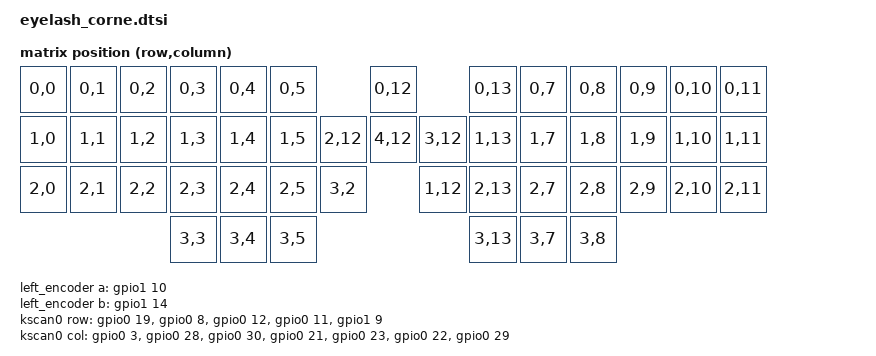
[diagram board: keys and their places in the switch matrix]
/*
 *
 * Copyright (c) 2024 The ZMK Contributors
 * SPDX-License-Identifier: MIT
 *
 */

/*
 * =============================================================================
 * Include
 * =============================================================================
 *
 * LEDの色指定、ZMKのMatrix Transform、
 * Eyelash CorneのPhysical Layout定義を読み込む。
 */

#include <dt-bindings/led/led.h>
#include <dt-bindings/zmk/matrix_transform.h>
#include "eyelash_corne-layouts.dtsi"


/ {
    /*
     * =========================================================================
     * ZMK Chosen Devices
     * =========================================================================
     *
     * ZMKが使用する各ハードウェア定義を指定する。
     */

    chosen {
        /* キーマトリクスのスキャンにkscan0を使用する。 */
        zmk,kscan = &kscan0;

        /* バッテリー電圧取得にvbattを使用する。 */
        zmk,battery = &vbatt;

        /* RGB Underglowにled_stripを使用する。 */
        zmk,underglow = &led_strip;

        /* Key Backlightにbacklightを使用する。 */
        zmk,backlight = &backlight;

        /* キーボードのPhysical Layoutとしてdefault_layoutを使用する。 */
        zmk,physical-layout = &default_layout;
    };


    /*
     * =========================================================================
     * Battery
     * =========================================================================
     *
     * nRF52840のVDDHを利用してバッテリー電圧を取得する。
     */

    vbatt: vbatt {
        compatible = "zmk,battery-nrf-vddh";
    };


    /*
     * =========================================================================
     * External Power
     * =========================================================================
     *
     * 外部デバイスへの電源供給を制御する。
     *
     * Control GPIO：P0.13
     * Active：HIGH
     * 初期化待ち時間：50ms
     */

    EXT_POWER {
        compatible = "zmk,ext-power-generic";
        control-gpios = <&gpio0 13 GPIO_ACTIVE_HIGH>;
        init-delay-ms = <50>;
    };


    /*
     * =========================================================================
     * Left Rotary Encoder
     * =========================================================================
     *
     * 左側EC11ロータリーエンコーダのハードウェア定義。
     *
     * A相：P1.10
     * B相：P1.14
     * GPIO Pull-upを使用。
     *
     * steps：40
     *
     * デフォルトではdisabled。
     * 必要な側のoverlay等から有効化して使用する。
     */

    left_encoder: encoder_left {
        compatible = "alps,ec11";
        a-gpios = <&gpio1 10 (GPIO_ACTIVE_HIGH | GPIO_PULL_UP)>;
        b-gpios = <&gpio1 14 (GPIO_ACTIVE_HIGH | GPIO_PULL_UP)>;
        steps = <40>;
        status = "disabled";
    };


    /*
     * =========================================================================
     * Encoder Sensor
     * =========================================================================
     *
     * ZMKから使用するセンサーとしてleft_encoderを登録する。
     *
     * triggers-per-rotation：20
     * → 1回転あたり20回のZMK Sensorイベントとして扱う。
     */

    sensors {
        compatible = "zmk,keymap-sensors";
        triggers-per-rotation = <20>;
        sensors = <&left_encoder>;
    };


    /*
     * =========================================================================
     * Key Matrix Scan
     * =========================================================================
     *
     * GPIO Matrix方式でキースイッチをスキャンする。
     *
     * Diode Direction：Column → Row
     *
     * Row GPIO：
     *   Row 0 = P0.19
     *   Row 1 = P0.08
     *   Row 2 = P0.12
     *   Row 3 = P0.11
     *   Row 4 = P1.09
     *
     * Column GPIO：
     *   Col 0 = P0.03
     *   Col 1 = P0.28
     *   Col 2 = P0.30
     *   Col 3 = P0.21
     *   Col 4 = P0.23
     *   Col 5 = P0.22
     *   Col 6 = P0.29
     *
     * wakeup-source：
     * → Sleep中のキー入力をWake-up Sourceとして使用する。
     */

    kscan0: kscan {
        compatible = "zmk,kscan-gpio-matrix";
        wakeup-source;
        diode-direction = "col2row";

        row-gpios
            = <&gpio0 19 (GPIO_ACTIVE_HIGH | GPIO_PULL_DOWN)>
            , <&gpio0 8 (GPIO_ACTIVE_HIGH | GPIO_PULL_DOWN)>
            , <&gpio0 12 (GPIO_ACTIVE_HIGH | GPIO_PULL_DOWN)>
            , <&gpio0 11 (GPIO_ACTIVE_HIGH | GPIO_PULL_DOWN)>
            , <&gpio1 9 (GPIO_ACTIVE_HIGH | GPIO_PULL_DOWN)>
            ;

        col-gpios
            = <&gpio0 3 GPIO_ACTIVE_HIGH>
            , <&gpio0 28 GPIO_ACTIVE_HIGH>
            , <&gpio0 30 GPIO_ACTIVE_HIGH>
            , <&gpio0 21 GPIO_ACTIVE_HIGH>
            , <&gpio0 23 GPIO_ACTIVE_HIGH>
            , <&gpio0 22 GPIO_ACTIVE_HIGH>
            , <&gpio0 29 GPIO_ACTIVE_HIGH>
            ;
    };


    /*
     * =========================================================================
     * Matrix Transform
     * =========================================================================
     *
     * 物理キーマトリクス上のRow / Columnと、
     * ZMK Keymap上のキー位置を対応させる。
     *
     * Logical Matrix：
     *   Columns = 14
     *   Rows    = 5
     *
     * RC(row, column)で各キーの位置を指定する。
     *
     * 5-wayスイッチ等を含む特殊な配置も、
     * このTransformによってKeymap上の位置へ割り当てられる。
     *
     * ★ キー配列そのものに関係する重要な定義なので、
     *   ハードウェア構成を変更しない限り基本的に変更しない。
     */

    default_transform: keymap_transform_0 {
        compatible = "zmk,matrix-transform";
        columns = <14>;
        rows = <5>;

        map = <
            RC(0,0) RC(0,1) RC(0,2) RC(0,3) RC(0,4) RC(0,5)                      RC(0,12)           RC(0,13) RC(0,7) RC(0,8) RC(0,9) RC(0,10) RC(0,11)
            RC(1,0) RC(1,1) RC(1,2) RC(1,3) RC(1,4) RC(1,5)             RC(2,12) RC(4,12) RC(3,12)  RC(1,13) RC(1,7) RC(1,8) RC(1,9) RC(1,10) RC(1,11)
            RC(2,0) RC(2,1) RC(2,2) RC(2,3) RC(2,4) RC(2,5) RC(3,2)              RC(1,12)           RC(2,13) RC(2,7) RC(2,8) RC(2,9) RC(2,10) RC(2,11)
                                    RC(3,3) RC(3,4) RC(3,5)                                         RC(3,13) RC(3,7) RC(3,8)
        >;
    };


    /*
     * =========================================================================
     * Key Backlight
     * =========================================================================
     *
     * PWMを使用してBacklightの明るさを制御する。
     *
     * PWM Controller：PWM0
     * Channel       ：0
     * Period        ：1ms
     * Polarity      ：Normal
     */

    backlight: pwmleds {
        compatible = "pwm-leds";

        pwm_led_0 {
            pwms = <&pwm0 0 PWM_MSEC(1) PWM_POLARITY_NORMAL>;
        };
    };
};


/*
 * =============================================================================
 * Pin Control
 * =============================================================================
 *
 * SPI / PWMで使用するnRF52840のGPIOを定義する。
 *
 * default：
 *   通常動作時のPin設定
 *
 * sleep：
 *   Sleep時のPin設定
 *   low-power-enableによって低消費電力状態へ移行する。
 */

&pinctrl {

    /*
     * -------------------------------------------------------------------------
     * SPI0 - nice!view
     * -------------------------------------------------------------------------
     *
     * SCK  = P0.20
     * MOSI = P0.17
     * MISO = P0.25
     */

    spi0_default: spi0_default {
        group1 {
            psels = <NRF_PSEL(SPIM_SCK, 0, 20)>,
                <NRF_PSEL(SPIM_MOSI, 0, 17)>,
                <NRF_PSEL(SPIM_MISO, 0, 25)>;
        };
    };

    spi0_sleep: spi0_sleep {
        group1 {
            psels = <NRF_PSEL(SPIM_SCK, 0, 20)>,
                <NRF_PSEL(SPIM_MOSI, 0, 17)>,
                <NRF_PSEL(SPIM_MISO, 0, 25)>;

            low-power-enable;
        };
    };


    /*
     * -------------------------------------------------------------------------
     * PWM0 - Key Backlight
     * -------------------------------------------------------------------------
     *
     * PWM OUT0 = P1.13
     */

    pwm0_default: pwm0_default {
        group1 {
            psels = <NRF_PSEL(PWM_OUT0, 1, 13)>;
        };
    };

    pwm0_sleep: pwm0_sleep {
        group1 {
            psels = <NRF_PSEL(PWM_OUT0, 1, 13)>;
            low-power-enable;
        };
    };


    /*
     * -------------------------------------------------------------------------
     * SPI3 - RGB Underglow
     * -------------------------------------------------------------------------
     *
     * MOSI = P1.12
     *
     * WS2812のデータ出力に使用する。
     */

    spi3_default: spi3_default {
        group1 {
            psels = <NRF_PSEL(SPIM_MOSI, 1, 12)>;
        };
    };

    spi3_sleep: spi3_sleep {
        group1 {
            psels = <NRF_PSEL(SPIM_MOSI, 1, 12)>;
            low-power-enable;
        };
    };
};


/*
 * =============================================================================
 * nice!view SPI
 * =============================================================================
 *
 * nice!viewディスプレイ用SPI0設定。
 *
 * SPI Controller：SPI0
 * CS GPIO       ：P0.06
 * CS Active     ：HIGH
 *
 * 通常時とSleep時で、それぞれ上記のpinctrl設定を使用する。
 */

nice_view_spi: &spi0 {
    compatible = "nordic,nrf-spim";

    pinctrl-0 = <&spi0_default>;
    pinctrl-1 = <&spi0_sleep>;
    pinctrl-names = "default", "sleep";

    cs-gpios = <&gpio0 6 GPIO_ACTIVE_HIGH>;
};


/*
 * =============================================================================
 * PWM0
 * =============================================================================
 *
 * Key Backlight用PWM Controllerを有効化する。
 */

&pwm0 {
    status = "okay";

    pinctrl-0 = <&pwm0_default>;
    pinctrl-1 =<&pwm0_sleep>;
    pinctrl-names = "default", "sleep";
};


/*
 * =============================================================================
 * SPI3 / WS2812 RGB Underglow
 * =============================================================================
 *
 * SPI3を使用してWS2812 RGB LEDを制御する。
 *
 * LED数              ：21
 * SPI Clock          ：4MHz
 * Logic 1 Frame      ：0x70
 * Logic 0 Frame      ：0x40
 * Color Mapping      ：Green / Red / Blue
 *
 * ★ RGB Underglowのハードウェア定義。
 */

&spi3 {
    status = "okay";
    compatible = "nordic,nrf-spim";

    pinctrl-0 = <&spi3_default>;
    pinctrl-1 = <&spi3_sleep>;
    pinctrl-names = "default", "sleep";

    led_strip: ws2812@0 {
        compatible = "worldsemi,ws2812-spi";
        reg = <0>;
        spi-max-frequency = <4000000>;
        chain-length = <21>;
        spi-one-frame = <0x70>;
        spi-zero-frame = <0x40>;

        color-mapping = <
            LED_COLOR_ID_GREEN
            LED_COLOR_ID_RED
            LED_COLOR_ID_BLUE
        >;
    };
};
